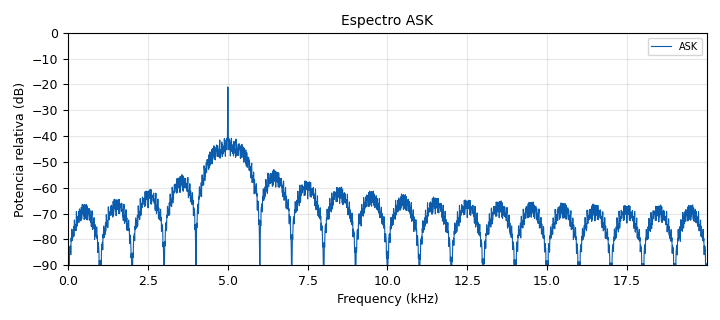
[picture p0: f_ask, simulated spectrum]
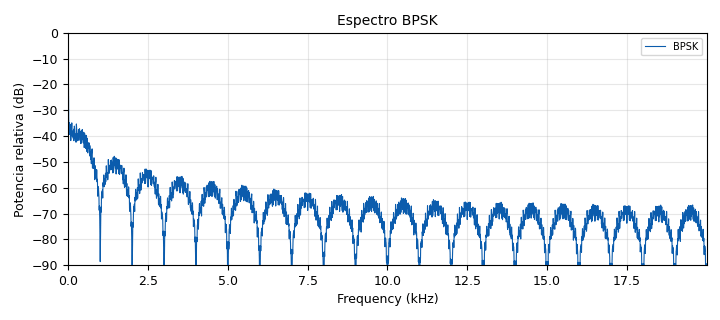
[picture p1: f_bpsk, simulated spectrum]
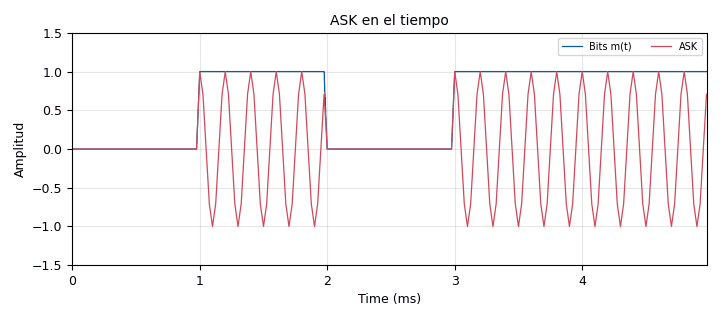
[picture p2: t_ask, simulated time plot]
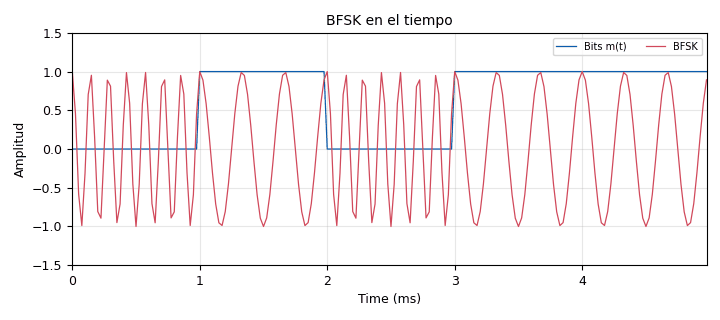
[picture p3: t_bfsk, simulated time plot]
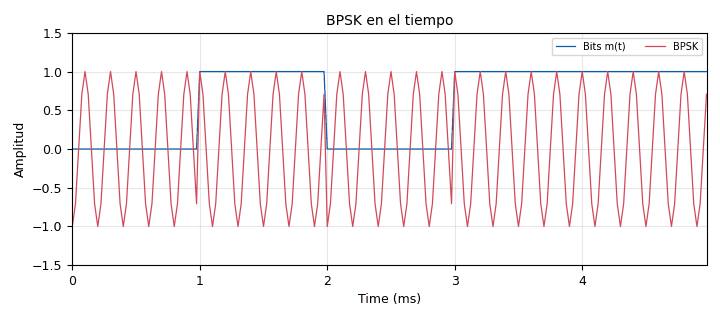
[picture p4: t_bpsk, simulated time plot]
options:
  parameters:
    author: ELO341
    generate_options: qt_gui
    id: item3_base
    output_language: python
    title: Item 3 - Modulacion pasabanda
  states: {}

blocks:
- name: df
  id: variable_qtgui_range
  parameters:
    gui_hint: 'pestanas@2: 3,0,1,1'
    label: '"BFSK: separacion entre tonos [Hz]"'
    min_len: '300'
    start: '0'
    step: '100'
    stop: '4000'
    value: '2000'
  states: {}
- name: fc
  id: variable
  parameters:
    value: '5000'
  states: {}
- name: fc_fsk
  id: variable_qtgui_range
  parameters:
    gui_hint: 'pestanas@2: 2,0,1,1'
    label: '"BFSK: frecuencia central [Hz]"'
    min_len: '300'
    start: '1000'
    step: '100'
    stop: '19000'
    value: '5000'
  states: {}
- name: samp_rate
  id: variable
  parameters:
    value: '40000'
  states: {}
- name: sps
  id: variable
  parameters:
    value: '40'
  states: {}
- name: analog_sig_source_x_0
  id: analog_sig_source_x
  parameters:
    amp: '1'
    freq: '5000'
    offset: '0'
    phase: '0'
    samp_rate: samp_rate
    type: float
    waveform: analog.GR_COS_WAVE
  states: {}
- name: analog_sig_source_x_0_0
  id: analog_sig_source_x
  parameters:
    amp: '1'
    freq: '5000'
    offset: '0'
    phase: '0'
    samp_rate: samp_rate
    type: float
    waveform: analog.GR_COS_WAVE
  states: {}
- name: analog_sig_source_x_0_0_0
  id: analog_sig_source_x
  parameters:
    amp: '1'
    freq: fc_fsk-df
    offset: '0'
    phase: '0'
    samp_rate: samp_rate
    type: float
    waveform: analog.GR_COS_WAVE
  states: {}
- name: analog_sig_source_x_0_0_0_0
  id: analog_sig_source_x
  parameters:
    amp: '1'
    freq: fc_fsk+df
    offset: '0'
    phase: '0'
    samp_rate: samp_rate
    type: float
    waveform: analog.GR_COS_WAVE
  states: {}
- name: archivo
  id: blocks_file_source
  parameters:
    file: senal_grabada.bin
    repeat: 'True'
    type: float
  states: {}
- name: bits
  id: analog_random_source_x
  parameters:
    max: '2'
    min: '0'
    num_samps: '1000'
    repeat: 'True'
    type: byte
  states: {}
- name: blocks_add_const_vxx_0
  id: blocks_add_const_vxx
  parameters:
    const: '-1'
    type: float
  states: {}
- name: blocks_add_const_vxx_1
  id: blocks_add_const_vxx
  parameters:
    const: '1'
    type: float
  states: {}
- name: blocks_add_xx_0
  id: blocks_add_xx
  parameters:
    type: float
  states: {}
- name: blocks_multiply_const_vxx_0
  id: blocks_multiply_const_vxx
  parameters:
    const: '2'
    type: float
  states: {}
- name: blocks_multiply_const_vxx_1
  id: blocks_multiply_const_vxx
  parameters:
    const: '-1'
    type: float
  states: {}
- name: blocks_multiply_xx_0
  id: blocks_multiply_xx
  parameters:
    type: float
  states: {}
- name: blocks_multiply_xx_0_0
  id: blocks_multiply_xx
  parameters:
    type: float
  states: {}
- name: blocks_multiply_xx_0_0_0
  id: blocks_multiply_xx
  parameters:
    type: float
  states: {}
- name: blocks_multiply_xx_0_0_0_0
  id: blocks_multiply_xx
  parameters:
    type: float
  states: {}
- name: c2f
  id: blocks_char_to_float
  parameters:
    scale: '1'
  states: {}
- name: f_ask
  id: qtgui_freq_sink_x
  parameters:
    average: '0.1'
    bw: samp_rate
    fc: '0'
    fftsize: '8192'
    freqhalf: 'False'
    grid: 'True'
    gui_hint: 'pestanas@0: 1,0,1,1'
    label: '"Potencia relativa"'
    label1: '"ASK"'
    name: '"Espectro ASK"'
    type: float
    units: '"dB"'
    ymax: '0'
    ymin: '-90'
  states: {}
- name: f_bfsk
  id: qtgui_freq_sink_x
  parameters:
    average: '0.1'
    bw: samp_rate
    fc: '0'
    fftsize: '8192'
    freqhalf: 'False'
    grid: 'True'
    gui_hint: 'pestanas@2: 1,0,1,1'
    label: '"Potencia relativa"'
    label1: '"Mi BFSK"'
    label2: '"Grabacion"'
    name: '"Espectro BFSK"'
    nconnections: '2'
    type: float
    units: '"dB"'
    ymax: '0'
    ymin: '-90'
  states: {}
- name: f_bpsk
  id: qtgui_freq_sink_x
  parameters:
    average: '0.1'
    bw: samp_rate
    fc: '0'
    fftsize: '8192'
    freqhalf: 'False'
    grid: 'True'
    gui_hint: 'pestanas@1: 1,0,1,1'
    label: '"Potencia relativa"'
    label1: '"BPSK"'
    name: '"Espectro BPSK"'
    type: float
    units: '"dB"'
    ymax: '0'
    ymin: '-90'
  states: {}
- name: f_grab
  id: qtgui_freq_sink_x
  parameters:
    average: '0.1'
    bw: samp_rate
    fc: '0'
    fftsize: '8192'
    freqhalf: 'False'
    grid: 'True'
    gui_hint: 'pestanas@3: 1,0,1,1'
    label: '"Potencia relativa"'
    label1: '"Grabacion"'
    name: '"Espectro de la grabacion"'
    type: float
    units: '"dB"'
    ymax: '0'
    ymin: '-90'
  states: {}
- name: g_bfsk
  id: virtual_source
  parameters:
    stream_id: grabacion
  states: {}
- name: m_ask
  id: virtual_source
  parameters:
    stream_id: m
  states: {}
- name: m_bfsk
  id: virtual_source
  parameters:
    stream_id: m
  states: {}
- name: m_bpsk
  id: virtual_source
  parameters:
    stream_id: m
  states: {}
- name: n_ask
  id: note
  parameters:
    comment: |-
      Construya aqui su modulador ASK.
      Hoy m(t) va directo a los visores: borre esas dos conexiones
      (a in1 del Time Sink y al Frequency Sink) y conecte la salida de su modulador.
    note: 'PARTE 1: ASK'
  states: {}
- name: n_bfsk
  id: note
  parameters:
    comment: |-
      Use las variables fc_fsk y df (sliders) en las frecuencias de los tonos.
      Parte 4: mueva los sliders hasta que su curva calce con la grabacion.
    note: 'PARTES 2 y 4: BFSK'
  states: {}
- name: n_bpsk
  id: note
  parameters:
    comment: Igual que ASK, pero antes de modular pase m(t) de {0, 1} a {-1, +1}.
    note: 'PARTE 1: BPSK'
  states: {}
- name: n_fuente
  id: note
  parameters:
    comment: |-
      Bits 0 y 1 a 1 kbps.
      No modificar.
    note: FUENTE m(t)
  states: {}
- name: n_grab
  id: note
  parameters:
    comment: |-
      Senal desconocida (senal_grabada.bin, en la misma carpeta).
      No modificar. Se analiza en la pestana Grabacion.
    note: GRABACION
  states: {}
- name: pestanas
  id: qtgui_tab_widget
  parameters:
    gui_hint: 0,0,1,1
    label0: '"ASK"'
    label1: '"BPSK"'
    label2: '"BFSK"'
    label3: '"Grabacion"'
    num_tabs: '4'
  states: {}
- name: repeat
  id: blocks_repeat
  parameters:
    interp: sps
    type: byte
  states: {}
- name: t_ask
  id: qtgui_time_sink_x
  parameters:
    grid: 'True'
    gui_hint: 'pestanas@0: 0,0,1,1'
    label1: '"Bits m(t)"'
    label2: '"ASK"'
    name: '"ASK en el tiempo"'
    nconnections: '2'
    size: '200'
    srate: samp_rate
    type: float
    width2: '2'
    ylabel: '"Amplitud"'
    ymax: '1.5'
    ymin: '-1.5'
  states: {}
- name: t_bfsk
  id: qtgui_time_sink_x
  parameters:
    grid: 'True'
    gui_hint: 'pestanas@2: 0,0,1,1'
    label1: '"Bits m(t)"'
    label2: '"BFSK"'
    name: '"BFSK en el tiempo"'
    nconnections: '2'
    size: '200'
    srate: samp_rate
    type: float
    width2: '2'
    ylabel: '"Amplitud"'
    ymax: '1.5'
    ymin: '-1.5'
  states: {}
- name: t_bpsk
  id: qtgui_time_sink_x
  parameters:
    grid: 'True'
    gui_hint: 'pestanas@1: 0,0,1,1'
    label1: '"Bits m(t)"'
    label2: '"BPSK"'
    name: '"BPSK en el tiempo"'
    nconnections: '2'
    size: '200'
    srate: samp_rate
    type: float
    width2: '2'
    ylabel: '"Amplitud"'
    ymax: '1.5'
    ymin: '-1.5'
  states: {}
- name: thr
  id: blocks_throttle2
  parameters:
    samples_per_second: samp_rate
    type: float
  states: {}
- name: thr_grab
  id: blocks_throttle2
  parameters:
    samples_per_second: samp_rate
    type: float
  states: {}
- name: vs_grab
  id: virtual_sink
  parameters:
    stream_id: grabacion
  states: {}
- name: vs_m
  id: virtual_sink
  parameters:
    stream_id: m
  states: {}

connections:
- [analog_sig_source_x_0, '0', blocks_multiply_xx_0, '1']
- [analog_sig_source_x_0_0, '0', blocks_multiply_xx_0_0, '1']
- [analog_sig_source_x_0_0_0, '0', blocks_multiply_xx_0_0_0, '1']
- [analog_sig_source_x_0_0_0_0, '0', blocks_multiply_xx_0_0_0_0, '1']
- [archivo, '0', thr_grab, '0']
- [bits, '0', repeat, '0']
- [blocks_add_const_vxx_0, '0', blocks_multiply_xx_0_0, '0']
- [blocks_add_const_vxx_1, '0', blocks_multiply_xx_0_0_0_0, '0']
- [blocks_add_xx_0, '0', f_bfsk, '0']
- [blocks_add_xx_0, '0', t_bfsk, '1']
- [blocks_multiply_const_vxx_0, '0', blocks_add_const_vxx_0, '0']
- [blocks_multiply_const_vxx_1, '0', blocks_add_const_vxx_1, '0']
- [blocks_multiply_xx_0, '0', f_ask, '0']
- [blocks_multiply_xx_0, '0', t_ask, '1']
- [blocks_multiply_xx_0_0, '0', t_bpsk, '1']
- [blocks_multiply_xx_0_0_0, '0', blocks_add_xx_0, '1']
- [blocks_multiply_xx_0_0_0_0, '0', blocks_add_xx_0, '0']
- [c2f, '0', thr, '0']
- [g_bfsk, '0', f_bfsk, '1']
- [m_ask, '0', blocks_multiply_xx_0, '0']
- [m_ask, '0', t_ask, '0']
- [m_bfsk, '0', blocks_multiply_const_vxx_1, '0']
- [m_bfsk, '0', blocks_multiply_xx_0_0_0, '0']
- [m_bfsk, '0', t_bfsk, '0']
- [m_bpsk, '0', blocks_multiply_const_vxx_0, '0']
- [m_bpsk, '0', f_bpsk, '0']
- [m_bpsk, '0', t_bpsk, '0']
- [repeat, '0', c2f, '0']
- [thr, '0', vs_m, '0']
- [thr_grab, '0', f_grab, '0']
- [thr_grab, '0', vs_grab, '0']

metadata:
  file_format: 1
  grc_version: 3.10.12.0
